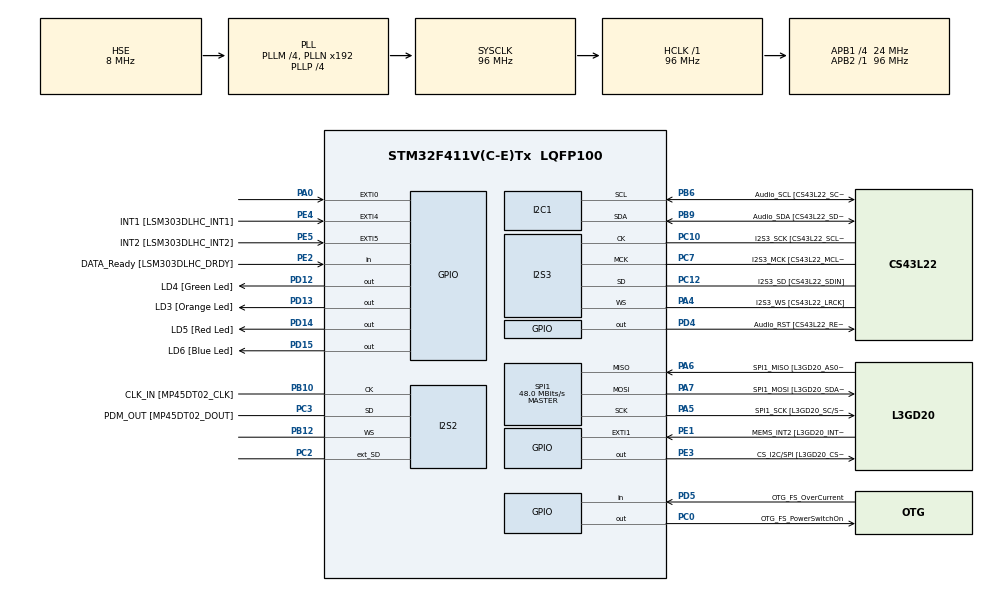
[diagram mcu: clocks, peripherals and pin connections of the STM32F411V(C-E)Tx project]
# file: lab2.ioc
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FREERTOS.INCLUDE_vTaskDelayUntil=1
FREERTOS.Tasks01=FlashGreenLedTa,0,128,StartFlashGreenLedTask,Default,NULL,Dynamic,NULL,NULL;FlashRedLedTask,-3,128,StartFlashRedLedTask,Default,NULL,Dynamic,NULL,NULL
I2S2.AudioFreq=I2S_AUDIOFREQ_96K
I2S2.ErrorAudioFreq=0.15 %
I2S2.FullDuplexMode=I2S_FULLDUPLEXMODE_ENABLE
I2S2.Instance=SPI$Index
I2S2.RealAudioFreq=96.153 KHz
I2S2.VirtualMode=I2S_MODE_MASTER
I2S3.AudioFreq=I2S_AUDIOFREQ_96K
I2S3.ErrorAudioFreq=-6.99 %
I2S3.FullDuplexMode=I2S_FULLDUPLEXMODE_DISABLE
I2S3.Instance=SPI$Index
I2S3.RealAudioFreq=89.285 KHz
I2S3.VirtualMode=I2S_MODE_MASTER
Mcu.Family=STM32F4
Mcu.Name=STM32F411V(C-E)Tx
Mcu.Package=LQFP100
NVIC.PriorityGroup=NVIC_PRIORITYGROUP_4
NVIC.TIM1_UP_TIM10_IRQn=true\:0\:0\:false\:false\:true\:false\:false\:true
NVIC.TimeBase=TIM1_UP_TIM10_IRQn
NVIC.TimeBaseIP=TIM1
PA0-WKUP.GPIO_ModeDefaultEXTI=GPIO_MODE_EVT_RISING
PA0-WKUP.Signal=GPXTI0
PA10.GPIO_Label=OTG_FS_ID
PA10.Signal=USB_OTG_FS_ID
PA11.GPIO_Label=OTG_FS_DM
PA11.Signal=USB_OTG_FS_DM
PA12.GPIO_Label=OTG_FS_DP
PA12.Signal=USB_OTG_FS_DP
PA13.GPIO_Label=SWDIO
PA13.Mode=Serial_Wire
PA13.Signal=SYS_JTMS-SWDIO
PA14.GPIO_Label=SWCLK
PA14.Mode=Serial_Wire
PA14.Signal=SYS_JTCK-SWCLK
PA4.GPIO_Label=I2S3_WS [CS43L22_LRCK]
PA4.GPIO_Mode=GPIO_MODE_AF_PP
PA4.GPIO_PuPd=GPIO_NOPULL
PA4.GPIO_Speed=GPIO_SPEED_FREQ_LOW
PA4.Mode=Half_Duplex_Master
PA4.Signal=I2S3_WS
PA5.GPIO_Label=SPI1_SCK [L3GD20_SC/SPC]
PA5.Mode=Full_Duplex_Master
PA5.Signal=SPI1_SCK
PA6.GPIO_Label=SPI1_MISO [L3GD20_AS0/SDO]
PA6.Mode=Full_Duplex_Master
PA6.Signal=SPI1_MISO
PA7.GPIO_Label=SPI1_MOSI [L3GD20_SDA/SDI/SDO]
PA7.Mode=Full_Duplex_Master
PA7.Signal=SPI1_MOSI
PA9.GPIO_Label=VBUS_FS
PA9.Signal=USB_OTG_FS_VBUS
PB10.GPIO_Label=CLK_IN [MP45DT02_CLK]
PB10.Mode=Full_Duplex_Master
PB10.Signal=I2S2_CK
PB12.Mode=Full_Duplex_Master
PB12.Signal=I2S2_WS
PB3.GPIO_Label=SWO
PB3.Signal=SYS_JTDO-SWO
PB6.GPIO_Label=Audio_SCL [CS43L22_SCL]
PB6.GPIO_Mode=GPIO_MODE_AF_OD
PB6.GPIO_PuPd=GPIO_NOPULL
PB6.GPIO_Speed=GPIO_SPEED_FREQ_LOW
PB6.Mode=I2C
PB6.Signal=I2C1_SCL
PB9.GPIO_Label=Audio_SDA [CS43L22_SDA]
PB9.GPIO_Mode=GPIO_MODE_AF_OD
PB9.GPIO_PuPd=GPIO_NOPULL
PB9.GPIO_Speed=GPIO_SPEED_FREQ_LOW
PB9.Mode=I2C
PB9.Signal=I2C1_SDA
PC0.GPIO_Label=OTG_FS_PowerSwitchOn
PC0.PinState=GPIO_PIN_SET
PC0.Signal=GPIO_Output
PC10.GPIO_Label=I2S3_SCK [CS43L22_SCLK]
PC10.GPIO_Mode=GPIO_MODE_AF_PP
PC10.GPIO_PuPd=GPIO_NOPULL
PC10.GPIO_Speed=GPIO_SPEED_FREQ_LOW
PC10.Mode=Half_Duplex_Master
PC10.Signal=I2S3_CK
PC12.GPIO_Label=I2S3_SD [CS43L22_SDIN]
PC12.GPIO_Mode=GPIO_MODE_AF_PP
PC12.GPIO_PuPd=GPIO_NOPULL
PC12.GPIO_Speed=GPIO_SPEED_FREQ_LOW
PC12.Mode=Half_Duplex_Master
PC12.Signal=I2S3_SD
PC14-OSC32_IN.GPIO_Label=PC14-OSC32_IN
PC14-OSC32_IN.Mode=LSE-External-Oscillator
PC14-OSC32_IN.Signal=RCC_OSC32_IN
PC15-OSC32_OUT.GPIO_Label=PC15-OSC32_OUT
PC15-OSC32_OUT.Mode=LSE-External-Oscillator
PC15-OSC32_OUT.Signal=RCC_OSC32_OUT
PC2.Mode=Full_Duplex_Master
PC2.Signal=I2S2_ext_SD
PC3.GPIO_Label=PDM_OUT [MP45DT02_DOUT]
PC3.Mode=Full_Duplex_Master
PC3.Signal=I2S2_SD
PC7.GPIO_Label=I2S3_MCK [CS43L22_MCLK]
PC7.GPIO_Mode=GPIO_MODE_AF_PP
PC7.GPIO_PuPd=GPIO_NOPULL
PC7.GPIO_Speed=GPIO_SPEED_FREQ_LOW
PC7.Mode=Master_Clock_Activated
PC7.Signal=I2S3_MCK
PD12.GPIO_Label=LD4 [Green Led]
PD12.GPIO_PuPd=GPIO_NOPULL
PD12.GPIO_Speed=GPIO_SPEED_FREQ_LOW
PD12.Signal=GPIO_Output
PD13.GPIO_Label=LD3 [Orange Led]
PD13.GPIO_PuPd=GPIO_NOPULL
PD13.GPIO_Speed=GPIO_SPEED_FREQ_LOW
PD13.Signal=GPIO_Output
PD14.GPIO_Label=LD5 [Red Led]
PD14.GPIO_PuPd=GPIO_NOPULL
PD14.GPIO_Speed=GPIO_SPEED_FREQ_LOW
PD14.Signal=GPIO_Output
PD15.GPIO_Label=LD6 [Blue Led]
PD15.GPIO_PuPd=GPIO_NOPULL
PD15.GPIO_Speed=GPIO_SPEED_FREQ_LOW
PD15.Signal=GPIO_Output
PD4.GPIO_Label=Audio_RST [CS43L22_RESET]
PD4.Signal=GPIO_Output
PD5.GPIO_Label=OTG_FS_OverCurrent
PD5.Signal=GPIO_Input
PE1.GPIO_Label=MEMS_INT2 [L3GD20_INT2]
PE1.GPIO_ModeDefaultEXTI=GPIO_MODE_EVT_RISING
PE1.Signal=GPXTI1
PE2.GPIO_Label=DATA_Ready [LSM303DLHC_DRDY]
PE2.Signal=GPIO_Input
PE3.GPIO_Label=CS_I2C/SPI [L3GD20_CS_I2C/SPI]
PE3.Signal=GPIO_Output
PE4.GPIO_Label=INT1 [LSM303DLHC_INT1]
PE4.GPIO_ModeDefaultEXTI=GPIO_MODE_EVT_RISING
PE4.Signal=GPXTI4
PE5.GPIO_Label=INT2 [LSM303DLHC_INT2]
PE5.GPIO_ModeDefaultEXTI=GPIO_MODE_EVT_RISING
PE5.Signal=GPXTI5
PH0\ -\ OSC_IN.GPIO_Label=PH0-OSC_IN
PH0\ -\ OSC_IN.Mode=HSE-External-Oscillator
PH0\ -\ OSC_IN.Signal=RCC_OSC_IN
PH1\ -\ OSC_OUT.GPIO_Label=PH1-OSC_OUT
PH1\ -\ OSC_OUT.Mode=HSE-External-Oscillator
PH1\ -\ OSC_OUT.Signal=RCC_OSC_OUT
ProjectManager.HeapSize=0x200
ProjectManager.StackSize=0x400
ProjectManager.TargetToolchain=STM32CubeIDE
RCC.48MHZClocksFreq_Value=48000000
RCC.AHBFreq_Value=96000000
RCC.APB1CLKDivider=RCC_HCLK_DIV4
RCC.APB1Freq_Value=24000000
RCC.APB1TimFreq_Value=48000000
RCC.APB2Freq_Value=96000000
RCC.APB2TimFreq_Value=96000000
RCC.CortexFreq_Value=96000000
RCC.HCLKFreq_Value=96000000
RCC.HSE_VALUE=8000000
RCC.HSI_VALUE=16000000
RCC.PLLI2SM=5
RCC.PLLI2SN=200
RCC.PLLM=4
RCC.PLLP=RCC_PLLP_DIV4
RCC.PLLQ=8
RCC.PLLSourceVirtual=RCC_PLLSOURCE_HSE
RCC.SYSCLKFreq_VALUE=96000000
RCC.SYSCLKSource=RCC_SYSCLKSOURCE_PLLCLK
RCC.VCOOutputFreq_Value=384000000
SPI1.BaudRatePrescaler=SPI_BAUDRATEPRESCALER_2
SPI1.CalculateBaudRate=48.0 MBits/s
SPI1.Direction=SPI_DIRECTION_2LINES
SPI1.Mode=SPI_MODE_MASTER
SPI1.VirtualType=VM_MASTER
VP_FREERTOS_VS_CMSIS_V1.Mode=CMSIS_V1
VP_SYS_VS_tim1.Mode=TIM1
board=STM32F411E-DISCO

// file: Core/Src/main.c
/* USER CODE BEGIN Header */
/**
  ******************************************************************************
  * @file           : main.c
  * @brief          : Main program body
  ******************************************************************************
  * @attention
  *
  * <h2><center>&copy; Copyright (c) 2024 STMicroelectronics.
  * All rights reserved.</center></h2>
  *
  * This software component is licensed by ST under Ultimate Liberty license
  * SLA0044, the "License"; You may not use this file except in compliance with
  * the License. You may obtain a copy of the License at:
  *                             www.st.com/SLA0044
  *
  ******************************************************************************
  */
/* USER CODE END Header */

#include "main.h"
#include "cmsis_os.h"

I2C_HandleTypeDef hi2c1;

I2S_HandleTypeDef hi2s2;
I2S_HandleTypeDef hi2s3;

SPI_HandleTypeDef hspi1;

osThreadId FlashGreenLedTaHandle;
osThreadId FlashRedLedTaskHandle;

void SystemClock_Config(void);
static void MX_GPIO_Init(void);
static void MX_I2C1_Init(void);
static void MX_I2S2_Init(void);
static void MX_I2S3_Init(void);
static void MX_SPI1_Init(void);
void StartFlashGreenLedTask(void const * argument);
void StartFlashRedLedTask(void const * argument);

int main(void)
{

  /* MCU Configuration--------------------------------------------------------*/

  /* Reset of all peripherals, Initializes the Flash interface and the Systick. */
  HAL_Init();

  /* Configure the system clock */
  SystemClock_Config();

  /* Initialize all configured peripherals */
  MX_GPIO_Init();
  MX_I2C1_Init();
  MX_I2S2_Init();
  MX_I2S3_Init();
  MX_SPI1_Init();

  /* Create the thread(s) */
  /* definition and creation of FlashGreenLedTa */
  osThreadDef(FlashGreenLedTa, StartFlashGreenLedTask, osPriorityAboveNormal, 0, 128);
  FlashGreenLedTaHandle = osThreadCreate(osThread(FlashGreenLedTa), NULL);

  /* definition and creation of FlashRedLedTask */
  osThreadDef(FlashRedLedTask, StartFlashRedLedTask, osPriorityNormal, 0, 128);
  FlashRedLedTaskHandle = osThreadCreate(osThread(FlashRedLedTask), NULL);

  /* Start scheduler */
  osKernelStart();

  /* We should never get here as control is now taken by the scheduler */

  /* Infinite loop */
  while (1)
  {

  }
}

void SystemClock_Config(void)
{
  RCC_OscInitTypeDef RCC_OscInitStruct = {0};
  RCC_ClkInitTypeDef RCC_ClkInitStruct = {0};
  RCC_PeriphCLKInitTypeDef PeriphClkInitStruct = {0};

  /** Configure the main internal regulator output voltage
  */
  __HAL_RCC_PWR_CLK_ENABLE();
  __HAL_PWR_VOLTAGESCALING_CONFIG(PWR_REGULATOR_VOLTAGE_SCALE1);
  /** Initializes the CPU, AHB and APB busses clocks
  */
  RCC_OscInitStruct.OscillatorType = RCC_OSCILLATORTYPE_HSE;
  RCC_OscInitStruct.HSEState = RCC_HSE_ON;
  RCC_OscInitStruct.PLL.PLLState = RCC_PLL_ON;
  RCC_OscInitStruct.PLL.PLLSource = RCC_PLLSOURCE_HSE;
  RCC_OscInitStruct.PLL.PLLM = 4;
  RCC_OscInitStruct.PLL.PLLN = 192;
  RCC_OscInitStruct.PLL.PLLP = RCC_PLLP_DIV4;
  RCC_OscInitStruct.PLL.PLLQ = 8;
  if (HAL_RCC_OscConfig(&RCC_OscInitStruct) != HAL_OK)
  {
    Error_Handler();
  }
  /** Initializes the CPU, AHB and APB busses clocks
  */
  RCC_ClkInitStruct.ClockType = RCC_CLOCKTYPE_HCLK|RCC_CLOCKTYPE_SYSCLK
                              |RCC_CLOCKTYPE_PCLK1|RCC_CLOCKTYPE_PCLK2;
  RCC_ClkInitStruct.SYSCLKSource = RCC_SYSCLKSOURCE_PLLCLK;
  RCC_ClkInitStruct.AHBCLKDivider = RCC_SYSCLK_DIV1;
  RCC_ClkInitStruct.APB1CLKDivider = RCC_HCLK_DIV4;
  RCC_ClkInitStruct.APB2CLKDivider = RCC_HCLK_DIV1;

  if (HAL_RCC_ClockConfig(&RCC_ClkInitStruct, FLASH_LATENCY_3) != HAL_OK)
  {
    Error_Handler();
  }
  PeriphClkInitStruct.PeriphClockSelection = RCC_PERIPHCLK_I2S;
  PeriphClkInitStruct.PLLI2S.PLLI2SN = 200;
  PeriphClkInitStruct.PLLI2S.PLLI2SM = 5;
  PeriphClkInitStruct.PLLI2S.PLLI2SR = 2;
  if (HAL_RCCEx_PeriphCLKConfig(&PeriphClkInitStruct) != HAL_OK)
  {
    Error_Handler();
  }
}

static void MX_I2C1_Init(void)
{

  hi2c1.Instance = I2C1;
  hi2c1.Init.ClockSpeed = 100000;
  hi2c1.Init.DutyCycle = I2C_DUTYCYCLE_2;
  hi2c1.Init.OwnAddress1 = 0;
  hi2c1.Init.AddressingMode = I2C_ADDRESSINGMODE_7BIT;
  hi2c1.Init.DualAddressMode = I2C_DUALADDRESS_DISABLE;
  hi2c1.Init.OwnAddress2 = 0;
  hi2c1.Init.GeneralCallMode = I2C_GENERALCALL_DISABLE;
  hi2c1.Init.NoStretchMode = I2C_NOSTRETCH_DISABLE;
  if (HAL_I2C_Init(&hi2c1) != HAL_OK)
  {
    Error_Handler();
  }

}

static void MX_I2S2_Init(void)
{

  hi2s2.Instance = SPI2;
  hi2s2.Init.Mode = I2S_MODE_MASTER_TX;
  hi2s2.Init.Standard = I2S_STANDARD_PHILIPS;
  hi2s2.Init.DataFormat = I2S_DATAFORMAT_16B;
  hi2s2.Init.MCLKOutput = I2S_MCLKOUTPUT_DISABLE;
  hi2s2.Init.AudioFreq = I2S_AUDIOFREQ_96K;
  hi2s2.Init.CPOL = I2S_CPOL_LOW;
  hi2s2.Init.ClockSource = I2S_CLOCK_PLL;
  hi2s2.Init.FullDuplexMode = I2S_FULLDUPLEXMODE_ENABLE;
  if (HAL_I2S_Init(&hi2s2) != HAL_OK)
  {
    Error_Handler();
  }

}

static void MX_I2S3_Init(void)
{

  hi2s3.Instance = SPI3;
  hi2s3.Init.Mode = I2S_MODE_MASTER_TX;
  hi2s3.Init.Standard = I2S_STANDARD_PHILIPS;
  hi2s3.Init.DataFormat = I2S_DATAFORMAT_16B;
  hi2s3.Init.MCLKOutput = I2S_MCLKOUTPUT_ENABLE;
  hi2s3.Init.AudioFreq = I2S_AUDIOFREQ_96K;
  hi2s3.Init.CPOL = I2S_CPOL_LOW;
  hi2s3.Init.ClockSource = I2S_CLOCK_PLL;
  hi2s3.Init.FullDuplexMode = I2S_FULLDUPLEXMODE_DISABLE;
  if (HAL_I2S_Init(&hi2s3) != HAL_OK)
  {
    Error_Handler();
  }

}

static void MX_SPI1_Init(void)
{

  /* SPI1 parameter configuration*/
  hspi1.Instance = SPI1;
  hspi1.Init.Mode = SPI_MODE_MASTER;
  hspi1.Init.Direction = SPI_DIRECTION_2LINES;
  hspi1.Init.DataSize = SPI_DATASIZE_8BIT;
  hspi1.Init.CLKPolarity = SPI_POLARITY_LOW;
  hspi1.Init.CLKPhase = SPI_PHASE_1EDGE;
  hspi1.Init.NSS = SPI_NSS_SOFT;
  hspi1.Init.BaudRatePrescaler = SPI_BAUDRATEPRESCALER_2;
  hspi1.Init.FirstBit = SPI_FIRSTBIT_MSB;
  hspi1.Init.TIMode = SPI_TIMODE_DISABLE;
  hspi1.Init.CRCCalculation = SPI_CRCCALCULATION_DISABLE;
  hspi1.Init.CRCPolynomial = 10;
  if (HAL_SPI_Init(&hspi1) != HAL_OK)
  {
    Error_Handler();
  }

}

static void MX_GPIO_Init(void)
{
  GPIO_InitTypeDef GPIO_InitStruct = {0};

  /* GPIO Ports Clock Enable */
  __HAL_RCC_GPIOE_CLK_ENABLE();
  __HAL_RCC_GPIOC_CLK_ENABLE();
  __HAL_RCC_GPIOH_CLK_ENABLE();
  __HAL_RCC_GPIOA_CLK_ENABLE();
  __HAL_RCC_GPIOB_CLK_ENABLE();
  __HAL_RCC_GPIOD_CLK_ENABLE();

  /*Configure GPIO pin Output Level */
  HAL_GPIO_WritePin(CS_I2C_SPI_GPIO_Port, CS_I2C_SPI_Pin, GPIO_PIN_RESET);

  /*Configure GPIO pin Output Level */
  HAL_GPIO_WritePin(OTG_FS_PowerSwitchOn_GPIO_Port, OTG_FS_PowerSwitchOn_Pin, GPIO_PIN_SET);

  /*Configure GPIO pin Output Level */
  HAL_GPIO_WritePin(GPIOD, LD4_Pin|LD3_Pin|LD5_Pin|LD6_Pin
                          |Audio_RST_Pin, GPIO_PIN_RESET);

  /*Configure GPIO pin : DATA_Ready_Pin */
  GPIO_InitStruct.Pin = DATA_Ready_Pin;
  GPIO_InitStruct.Mode = GPIO_MODE_INPUT;
  GPIO_InitStruct.Pull = GPIO_NOPULL;
  HAL_GPIO_Init(DATA_Ready_GPIO_Port, &GPIO_InitStruct);

  /*Configure GPIO pin : CS_I2C_SPI_Pin */
  GPIO_InitStruct.Pin = CS_I2C_SPI_Pin;
  GPIO_InitStruct.Mode = GPIO_MODE_OUTPUT_PP;
  GPIO_InitStruct.Pull = GPIO_NOPULL;
  GPIO_InitStruct.Speed = GPIO_SPEED_FREQ_LOW;
  HAL_GPIO_Init(CS_I2C_SPI_GPIO_Port, &GPIO_InitStruct);

  /*Configure GPIO pins : INT1_Pin INT2_Pin MEMS_INT2_Pin */
  GPIO_InitStruct.Pin = INT1_Pin|INT2_Pin|MEMS_INT2_Pin;
  GPIO_InitStruct.Mode = GPIO_MODE_EVT_RISING;
  GPIO_InitStruct.Pull = GPIO_NOPULL;
  HAL_GPIO_Init(GPIOE, &GPIO_InitStruct);

  /*Configure GPIO pin : OTG_FS_PowerSwitchOn_Pin */
  GPIO_InitStruct.Pin = OTG_FS_PowerSwitchOn_Pin;
  GPIO_InitStruct.Mode = GPIO_MODE_OUTPUT_PP;
  GPIO_InitStruct.Pull = GPIO_NOPULL;
  GPIO_InitStruct.Speed = GPIO_SPEED_FREQ_LOW;
  HAL_GPIO_Init(OTG_FS_PowerSwitchOn_GPIO_Port, &GPIO_InitStruct);

  /*Configure GPIO pin : PA0 */
  GPIO_InitStruct.Pin = GPIO_PIN_0;
  GPIO_InitStruct.Mode = GPIO_MODE_EVT_RISING;
  GPIO_InitStruct.Pull = GPIO_NOPULL;
  HAL_GPIO_Init(GPIOA, &GPIO_InitStruct);

  /*Configure GPIO pins : LD4_Pin LD3_Pin LD5_Pin LD6_Pin
                           Audio_RST_Pin */
  GPIO_InitStruct.Pin = LD4_Pin|LD3_Pin|LD5_Pin|LD6_Pin
                          |Audio_RST_Pin;
  GPIO_InitStruct.Mode = GPIO_MODE_OUTPUT_PP;
  GPIO_InitStruct.Pull = GPIO_NOPULL;
  GPIO_InitStruct.Speed = GPIO_SPEED_FREQ_LOW;
  HAL_GPIO_Init(GPIOD, &GPIO_InitStruct);

  /*Configure GPIO pin : VBUS_FS_Pin */
  GPIO_InitStruct.Pin = VBUS_FS_Pin;
  GPIO_InitStruct.Mode = GPIO_MODE_INPUT;
  GPIO_InitStruct.Pull = GPIO_NOPULL;
  HAL_GPIO_Init(VBUS_FS_GPIO_Port, &GPIO_InitStruct);

  /*Configure GPIO pins : OTG_FS_ID_Pin OTG_FS_DM_Pin OTG_FS_DP_Pin */
  GPIO_InitStruct.Pin = OTG_FS_ID_Pin|OTG_FS_DM_Pin|OTG_FS_DP_Pin;
  GPIO_InitStruct.Mode = GPIO_MODE_AF_PP;
  GPIO_InitStruct.Pull = GPIO_NOPULL;
  GPIO_InitStruct.Speed = GPIO_SPEED_FREQ_VERY_HIGH;
  GPIO_InitStruct.Alternate = GPIO_AF10_OTG_FS;
  HAL_GPIO_Init(GPIOA, &GPIO_InitStruct);

  /*Configure GPIO pin : OTG_FS_OverCurrent_Pin */
  GPIO_InitStruct.Pin = OTG_FS_OverCurrent_Pin;
  GPIO_InitStruct.Mode = GPIO_MODE_INPUT;
  GPIO_InitStruct.Pull = GPIO_NOPULL;
  HAL_GPIO_Init(OTG_FS_OverCurrent_GPIO_Port, &GPIO_InitStruct);

}

void StartFlashGreenLedTask(void const * argument)
{
  /* USER CODE BEGIN 5 */
	TickType_t TaskTimeStamp;
	TickType_t DelayTimeMsec = 2000;// 2 seconds
  /* Infinite loop */
  for(;;)
  {
	  //Exercise 1
	  /*
	  HAL_GPIO_WritePin(GPIOD, GPIO_PIN_14, GPIO_PIN_SET);//Enable RED LED
	  osDelay(2000); //Delay 2ms
	  HAL_GPIO_WritePin(GPIOD, GPIO_PIN_14, GPIO_PIN_RESET);//Disable RED LED
	  osDelay(500);// 0.5ms delay
	  */

	  // Exercise 2
	  /*
	  TickType_t TaskTimeStamp; //create variable of type TickType_t
	  TickType_t DelayTimeMsec = 2000; //create variable of type TickType_t
	  TaskTimeStamp = xTaskGetTickCount(); //load variable with current starting tick value

	  HAL_GPIO_WritePin(GPIOD, GPIO_PIN_12, GPIO_PIN_SET);//Enable Green LED
	  osDelayUntil(&TaskTimeStamp, DelayTimeMsec); //Delay 2 sec . Function creates delay relative to specific point in time
	  HAL_GPIO_WritePin(GPIOD, GPIO_PIN_12, GPIO_PIN_RESET);//Disable Green LED
	  osDelayUntil(&TaskTimeStamp, DelayTimeMsec);
	  */

	  // Exercise 3
	  /*
	  HAL_GPIO_WritePin(GPIOD, GPIO_PIN_12, GPIO_PIN_SET);//Enable Green LED
	  osDelayUntil(&TaskTimeStamp, DelayTimeMsec); //Delay 2 sec . Function creates delay relative to specific point in time
	  HAL_GPIO_WritePin(GPIOD, GPIO_PIN_12, GPIO_PIN_RESET);//Disable Green LED
	  osDelayUntil(&TaskTimeStamp, 1500);//1.5 sec
	  //osDelay(1);
	   */

	  // Exercise 4
	  HAL_GPIO_WritePin(GPIOD, GPIO_PIN_15,GPIO_PIN_SET);//enable Blue LED

	  for(int i=0; i<=160;i++)
	  {
		  HAL_GPIO_TogglePin(GPIOD, GPIO_PIN_12);//enable Green LED
		  osDelay(25);
	  }
	  HAL_GPIO_WritePin(GPIOD, GPIO_PIN_15,GPIO_PIN_RESET);//disable Blue LED
	  HAL_GPIO_WritePin(GPIOD, GPIO_PIN_12,GPIO_PIN_RESET);//disable Green LED
	  osDelay(6000);

  }
  /* USER CODE END 5 */
}

void StartFlashRedLedTask(void const * argument)
{
  /* USER CODE BEGIN StartFlashRedLedTask */
	TickType_t TaskTimeStamp;
	TickType_t DelayTimeMsec = 1000;
  /* Infinite loop */
  for(;;)
  {
	  // Exercise 3
	  /*
	  HAL_GPIO_WritePin(GPIOD, GPIO_PIN_14, GPIO_PIN_SET);//Enable RED LED
	  osDelayUntil(&TaskTimeStamp, DelayTimeMsec); //Delay 2 sec . Function creates delay relative to specific point in time
	  HAL_GPIO_WritePin(GPIOD, GPIO_PIN_14, GPIO_PIN_RESET);//Disable Red LED
	  osDelayUntil(&TaskTimeStamp, DelayTimeMsec);
      //osDelay(1);*/

	  // Exercise 4
	  HAL_GPIO_WritePin(GPIOD, GPIO_PIN_14,GPIO_PIN_SET);//enable Red LED

	  for(int i=0; i<=160;i++)
	  {
		  HAL_GPIO_TogglePin(GPIOD, GPIO_PIN_13);//enable Orange LED
		  osDelay(25);
	  }
	  HAL_GPIO_WritePin(GPIOD, GPIO_PIN_14,GPIO_PIN_RESET);//disable Red LED
	  HAL_GPIO_WritePin(GPIOD, GPIO_PIN_13,GPIO_PIN_RESET);//disable Orange LED
	  osDelay(6000);
  }
  /* USER CODE END StartFlashRedLedTask */
}

void HAL_TIM_PeriodElapsedCallback(TIM_HandleTypeDef *htim)
{
  if (htim->Instance == TIM1) {
    HAL_IncTick();
  }
}

void Error_Handler(void)
{
}

/************************ (C) COPYRIGHT STMicroelectronics *****END OF FILE****/
